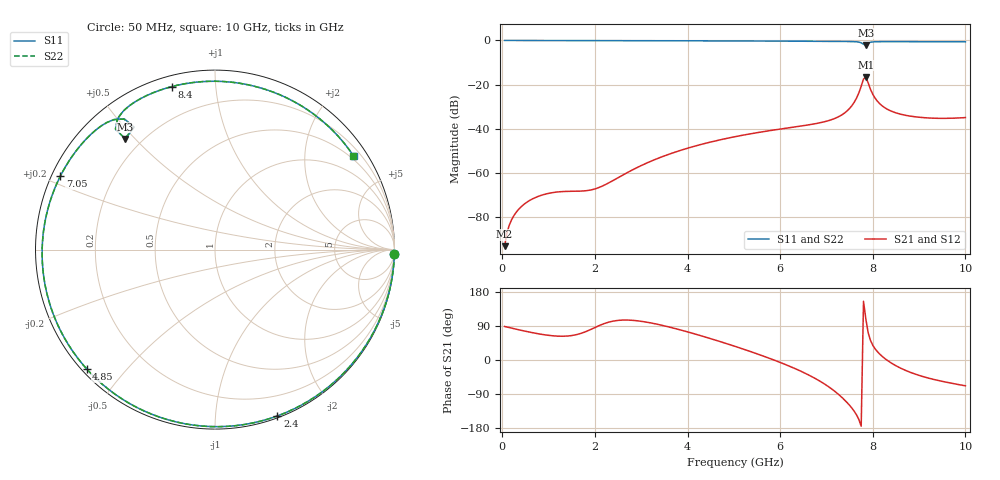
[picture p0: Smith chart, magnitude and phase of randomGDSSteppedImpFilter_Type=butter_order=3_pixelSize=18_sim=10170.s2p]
! freq	dB(S11)	phase(S11)	dB(S12)	phase(S12)
!  dB(S21)	phase(S21)	dB(S22)	phase(S22)
!S-par simulation data
#  GHz  S  DB  R 50
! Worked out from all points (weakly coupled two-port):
!   200 points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, 50 MHz to 10 GHz, reference 50 ohm
!   highest |S21| = -16.61 dB at 7.85 GHz (marker M1); lowest = -93.3 dB at 50 MHz (marker M2)
!   lowest |S11| = -2.0 dB at 7.85 GHz (marker M3), VSWR 8.67, Z = 7.06 + j23.5 ohm
!   |S11| at or under -10 dB: nowhere
!   |S22| runs from -2.0 to 0.0 dB; largest |S21 - S12| = 0
!   S11 on the Smith chart (normalised r, x): 50 MHz: 2, -76; 2.4 GHz: 0.02, -1.44; 4.85 GHz: 0.01, -0.39; 7.05 GHz: 0.02, +0.23; 8.4 GHz: 0.05, +0.77; 10 GHz: 0.41, +3.22
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0.05  -0.01 -1.5  -93.27 88.5  -93.27 88.5  -0.01 -1.5
0.25  -0.01 -7.4  -79.43 82.7  -79.43 82.7  -0.01 -7.4
0.5  -0.02 -14.8  -73.79 75.8  -73.79 75.8  -0.02 -14.8
0.85  -0.03 -25.1  -70.15 67.6  -70.15 67.6  -0.03 -25.1
1.75  -0.06 -51.1  -68.25 72.4  -68.25 72.4  -0.06 -51.1
2.4  -0.09 -69.5  -63.41 102.8  -63.41 102.8  -0.09 -69.5
3.4  -0.13 -97.1  -53.13 92.9  -53.13 92.9  -0.13 -97.1
4.85  -0.21 -137.2  -44.39 43.0  -44.39 43.0  -0.21 -137.1
5.05  -0.22 -142.8  -43.53 35.0  -43.53 35.0  -0.22 -142.8
5.9  -0.29 -167.7  -40.49 -1.6  -40.49 -1.6  -0.29 -167.7
6.7  -0.37 166.8  -37.97 -44.9  -37.97 -44.9  -0.37 166.8
7.05  -0.41 154.6  -36.33 -70.9  -36.33 -70.9  -0.41 154.7
7.5  -0.50 137.4  -30.81 -119.6  -30.81 -119.6  -0.50 137.5
7.65  -0.63 130.5  -26.12 -144.9  -26.12 -144.9  -0.62 130.6
7.75  -1.05 124.7  -20.76 -174.7  -20.76 -174.7  -1.04 124.9
7.85  -2.01 129.0  -16.61 108.6  -16.61 108.6  -1.98 129.0
7.9  -1.21 129.6  -19.21 72.2  -19.21 72.2  -1.20 129.6
8.05  -0.61 120.9  -26.16 29.6  -26.16 29.6  -0.61 121.0
8.35  -0.54 107.1  -31.58 -4.0  -31.58 -4.0  -0.54 107.2
8.4  -0.54 104.9  -32.06 -8.0  -32.06 -8.0  -0.54 105.1
9.15  -0.58 71.9  -35.08 -46.0  -35.08 -46.0  -0.58 72.1
10  -0.61 34.0  -34.97 -68.1  -34.97 -68.1  -0.61 34.2
